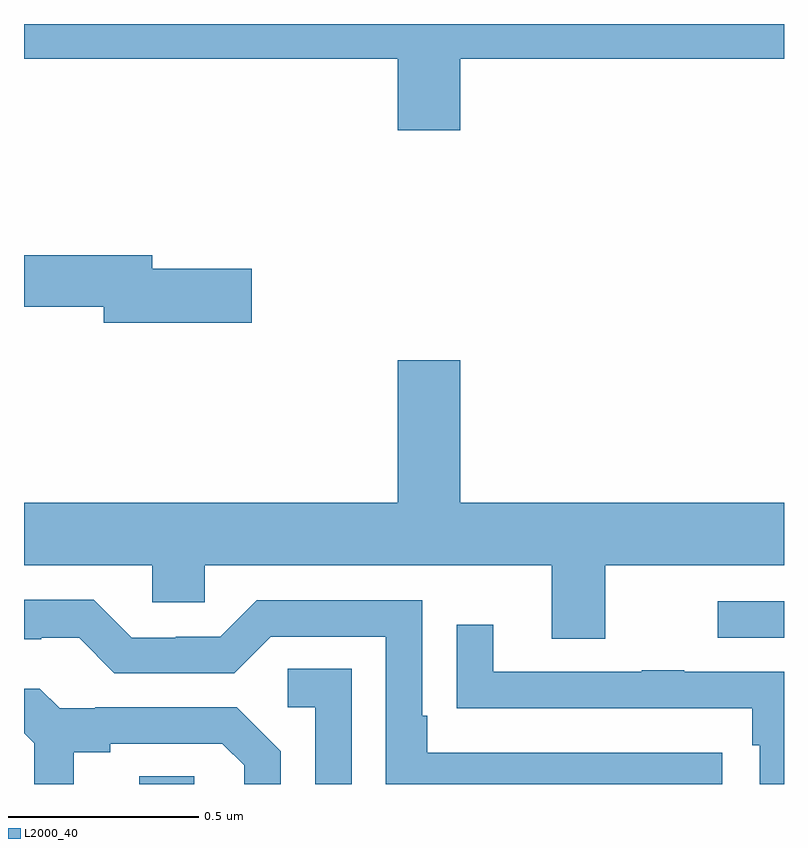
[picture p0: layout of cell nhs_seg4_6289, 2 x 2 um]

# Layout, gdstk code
import gdstk
lib = gdstk.Library(unit=1e-6, precision=1e-09)
def R(c, l, rs):  # rectangles x0, y0, x1, y1
    for r in rs: c.add(gdstk.rectangle(r[:2], r[2:], *l))
def P(c, l, *ps):  # polygons
    for p in ps: c.add(gdstk.Polygon(p, *l))
L2000_40 = (2000, 40)

nhs_seg4_6289 = lib.new_cell('nhs_seg4_6289')
R(nhs_seg4_6289, L2000_40, [(188.303,806.9,188.448,806.921), (189.825,807.285,190,807.381)])
P(nhs_seg4_6289, L2000_40, [(189.148,808.808),(190,808.808),(190,808.9),(188,808.9),(188,808.808),(188.984,808.808),(188.984,808.62),(189.148,808.62)],
  [(188.599,808.256),(188.338,808.256),(188.338,808.292),(188,808.292),(188,808.156),(188.21,808.156),(188.21,808.114),(188.599,808.114)],
  [(189.529,807.476),(190,807.476),(190,807.64),(189.148,807.64),(189.148,808.015),(188.984,808.015),(188.984,807.64),(188,807.64),(188,807.476),(188.337,807.476),(188.337,807.378),(188.475,807.378),(188.475,807.476),(189.389,807.476),(189.389,807.282),(189.529,807.282)],
  [(189.838,806.982),(189.061,806.982),(189.061,807.079),(189.048,807.079),(189.048,807.384),(188.613,807.384),(188.517,807.288),(188.399,807.288),(188.399,807.285),(188.283,807.285),(188.183,807.385),(188,807.385),(188,807.281),(188.045,807.281),(188.045,807.285),(188.145,807.285),(188.238,807.192),(188.553,807.192),(188.649,807.288),(188.952,807.288),(188.952,806.9),(189.838,806.9)],
  [(190,807.195),(189.737,807.195),(189.737,807.2),(189.625,807.2),(189.625,807.195),(189.235,807.195),(189.235,807.319),(189.139,807.319),(189.139,807.1),(189.241,807.1),(189.241,807.099),(189.916,807.099),(189.916,807.002),(189.936,807.002),(189.936,806.9),(190,806.9)],
  [(188.862,807.203),(188.694,807.203),(188.694,807.102),(188.766,807.102),(188.766,806.9),(188.862,806.9)],
  [(188.131,806.984),(188.227,806.984),(188.227,807.006),(188.522,807.006),(188.579,806.949),(188.579,806.9),(188.676,806.9),(188.676,806.986),(188.56,807.102),(188.188,807.102),(188.188,807.099),(188.094,807.099),(188.042,807.151),(188,807.151),(188,807.034),(188.027,807.007),(188.027,806.9),(188.131,806.9)])

lib.write_gds('nhs_seg4_6289.gds')
